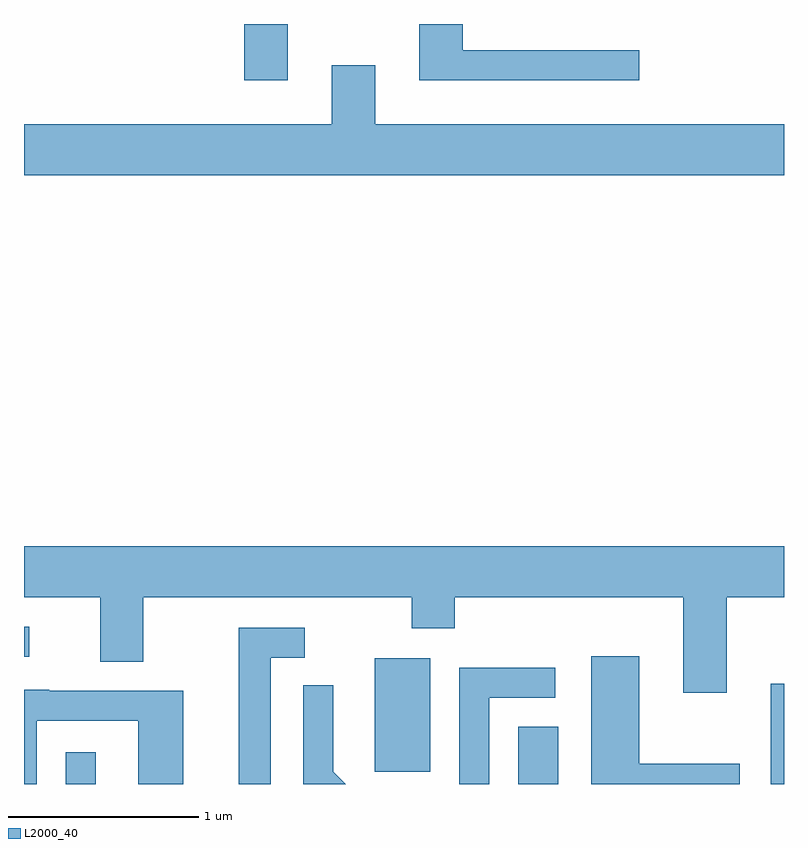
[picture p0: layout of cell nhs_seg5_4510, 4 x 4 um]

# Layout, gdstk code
import gdstk
lib = gdstk.Library(unit=1e-6, precision=1e-09)
def R(c, l, rs):  # rectangles x0, y0, x1, y1
    for r in rs: c.add(gdstk.rectangle(r[:2], r[2:], *l))
def P(c, l, *ps):  # polygons
    for p in ps: c.add(gdstk.Polygon(p, *l))
L2000_40 = (2000, 40)

nhs_seg5_4510 = lib.new_cell('nhs_seg5_4510')
R(nhs_seg5_4510, L2000_40, [(319.831,1418.072,319.989,1418.238), (322.211,1418.072,322.424,1418.374), (323.541,1418.072,323.611,1418.599), (321.456,1418.136,321.749,1418.734), (319.611,1418.741,319.638,1418.899), (320.771,1421.776,320.999,1422.072)])
P(nhs_seg5_4510, L2000_40, [(322.848,1421.934),(321.919,1421.934),(321.919,1422.072),(321.691,1422.072),(321.691,1421.776),(322.848,1421.776)],
  [(323.611,1421.544),(321.459,1421.544),(321.459,1421.854),(321.231,1421.854),(321.231,1421.544),(319.611,1421.544),(319.611,1421.276),(323.611,1421.276)],
  [(319.611,1419.056),(320.011,1419.056),(320.011,1418.716),(320.239,1418.716),(320.239,1419.056),(321.651,1419.056),(321.651,1418.891),(321.879,1418.891),(321.879,1419.056),(323.081,1419.056),(323.081,1418.551),(323.309,1418.551),(323.309,1419.056),(323.611,1419.056),(323.611,1419.324),(319.611,1419.324)],
  [(320.909,1418.736),(321.088,1418.736),(321.088,1418.894),(320.741,1418.894),(320.741,1418.072),(320.909,1418.072)],
  [(323.379,1418.179),(322.849,1418.179),(322.849,1418.744),(322.596,1418.744),(322.596,1418.072),(323.379,1418.072)],
  [(322.059,1418.526),(322.408,1418.526),(322.408,1418.684),(321.901,1418.684),(321.901,1418.072),(322.059,1418.072)],
  [(321.239,1418.137),(321.239,1418.593),(321.081,1418.593),(321.081,1418.072),(321.304,1418.072)],
  [(319.679,1418.406),(320.211,1418.406),(320.211,1418.072),(320.449,1418.072),(320.449,1418.564),(319.745,1418.564),(319.745,1418.569),(319.611,1418.569),(319.611,1418.072),(319.679,1418.072)])

lib.write_gds('nhs_seg5_4510.gds')
